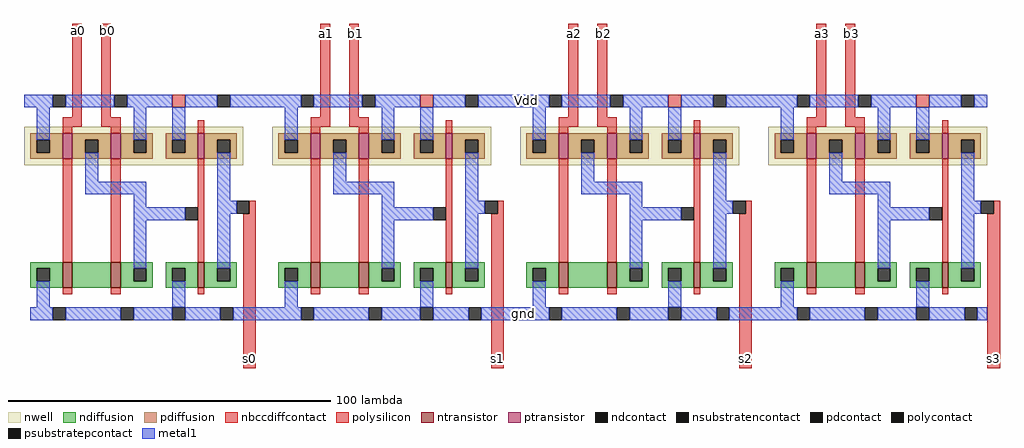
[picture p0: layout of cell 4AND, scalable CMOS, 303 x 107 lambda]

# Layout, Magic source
magic
tech scmos
<< nwell >>
rect -57 14 11 26
rect 20 14 88 26
rect 97 14 165 26
rect 174 14 242 26
<< polysilicon >>
rect -42 29 -39 58
rect -45 26 -39 29
rect -33 29 -30 58
rect 35 29 38 58
rect -33 26 -27 29
rect -45 24 -42 26
rect -30 24 -27 26
rect -3 24 -1 28
rect 32 26 38 29
rect 44 29 47 58
rect 112 29 115 58
rect 44 26 50 29
rect 32 24 35 26
rect 47 24 50 26
rect 74 24 76 28
rect 109 26 115 29
rect 121 29 124 58
rect 189 29 192 58
rect 121 26 127 29
rect 109 24 112 26
rect 124 24 127 26
rect 151 24 153 28
rect 186 26 192 29
rect 198 29 201 58
rect 198 26 204 29
rect 186 24 189 26
rect 201 24 204 26
rect 228 24 230 28
rect -45 -16 -42 16
rect -30 -16 -27 16
rect -3 -16 -1 16
rect 13 -1 15 3
rect -45 -26 -42 -24
rect -30 -26 -27 -24
rect -3 -26 -1 -24
rect 11 -49 15 -1
rect 32 -16 35 16
rect 47 -16 50 16
rect 74 -16 76 16
rect 90 -1 92 3
rect 32 -26 35 -24
rect 47 -26 50 -24
rect 74 -26 76 -24
rect 88 -49 92 -1
rect 109 -16 112 16
rect 124 -16 127 16
rect 151 -16 153 16
rect 167 -1 169 3
rect 109 -26 112 -24
rect 124 -26 127 -24
rect 151 -26 153 -24
rect 165 -49 169 -1
rect 186 -16 189 16
rect 201 -16 204 16
rect 228 -16 230 16
rect 244 -1 246 3
rect 186 -26 189 -24
rect 201 -26 204 -24
rect 228 -26 230 -24
rect 242 -49 246 -1
<< ndiffusion >>
rect -55 -18 -45 -16
rect -55 -22 -53 -18
rect -49 -22 -45 -18
rect -55 -24 -45 -22
rect -42 -24 -30 -16
rect -27 -18 -17 -16
rect -27 -22 -23 -18
rect -19 -22 -17 -18
rect -27 -24 -17 -22
rect -13 -18 -3 -16
rect -13 -22 -11 -18
rect -7 -22 -3 -18
rect -13 -24 -3 -22
rect -1 -18 9 -16
rect -1 -22 3 -18
rect 7 -22 9 -18
rect -1 -24 9 -22
rect 22 -18 32 -16
rect 22 -22 24 -18
rect 28 -22 32 -18
rect 22 -24 32 -22
rect 35 -24 47 -16
rect 50 -18 60 -16
rect 50 -22 54 -18
rect 58 -22 60 -18
rect 50 -24 60 -22
rect 64 -18 74 -16
rect 64 -22 66 -18
rect 70 -22 74 -18
rect 64 -24 74 -22
rect 76 -18 86 -16
rect 76 -22 80 -18
rect 84 -22 86 -18
rect 76 -24 86 -22
rect 99 -18 109 -16
rect 99 -22 101 -18
rect 105 -22 109 -18
rect 99 -24 109 -22
rect 112 -24 124 -16
rect 127 -18 137 -16
rect 127 -22 131 -18
rect 135 -22 137 -18
rect 127 -24 137 -22
rect 141 -18 151 -16
rect 141 -22 143 -18
rect 147 -22 151 -18
rect 141 -24 151 -22
rect 153 -18 163 -16
rect 153 -22 157 -18
rect 161 -22 163 -18
rect 153 -24 163 -22
rect 176 -18 186 -16
rect 176 -22 178 -18
rect 182 -22 186 -18
rect 176 -24 186 -22
rect 189 -24 201 -16
rect 204 -18 214 -16
rect 204 -22 208 -18
rect 212 -22 214 -18
rect 204 -24 214 -22
rect 218 -18 228 -16
rect 218 -22 220 -18
rect 224 -22 228 -18
rect 218 -24 228 -22
rect 230 -18 240 -16
rect 230 -22 234 -18
rect 238 -22 240 -18
rect 230 -24 240 -22
<< pdiffusion >>
rect -55 22 -45 24
rect -55 18 -53 22
rect -49 18 -45 22
rect -55 16 -45 18
rect -42 22 -30 24
rect -42 18 -38 22
rect -34 18 -30 22
rect -42 16 -30 18
rect -27 22 -17 24
rect -27 18 -23 22
rect -19 18 -17 22
rect -27 16 -17 18
rect -13 22 -3 24
rect -13 18 -11 22
rect -7 18 -3 22
rect -13 16 -3 18
rect -1 22 9 24
rect -1 18 3 22
rect 7 18 9 22
rect -1 16 9 18
rect 22 22 32 24
rect 22 18 24 22
rect 28 18 32 22
rect 22 16 32 18
rect 35 22 47 24
rect 35 18 39 22
rect 43 18 47 22
rect 35 16 47 18
rect 50 22 60 24
rect 50 18 54 22
rect 58 18 60 22
rect 50 16 60 18
rect 64 22 74 24
rect 64 18 66 22
rect 70 18 74 22
rect 64 16 74 18
rect 76 22 86 24
rect 76 18 80 22
rect 84 18 86 22
rect 76 16 86 18
rect 99 22 109 24
rect 99 18 101 22
rect 105 18 109 22
rect 99 16 109 18
rect 112 22 124 24
rect 112 18 116 22
rect 120 18 124 22
rect 112 16 124 18
rect 127 22 137 24
rect 127 18 131 22
rect 135 18 137 22
rect 127 16 137 18
rect 141 22 151 24
rect 141 18 143 22
rect 147 18 151 22
rect 141 16 151 18
rect 153 22 163 24
rect 153 18 157 22
rect 161 18 163 22
rect 153 16 163 18
rect 176 22 186 24
rect 176 18 178 22
rect 182 18 186 22
rect 176 16 186 18
rect 189 22 201 24
rect 189 18 193 22
rect 197 18 201 22
rect 189 16 201 18
rect 204 22 214 24
rect 204 18 208 22
rect 212 18 214 22
rect 204 16 214 18
rect 218 22 228 24
rect 218 18 220 22
rect 224 18 228 22
rect 218 16 228 18
rect 230 22 240 24
rect 230 18 234 22
rect 238 18 240 22
rect 230 16 240 18
<< metal1 >>
rect -57 32 -48 36
rect -44 32 -29 36
rect -25 32 -11 36
rect -7 32 3 36
rect 7 32 29 36
rect 33 32 48 36
rect 52 32 66 36
rect 70 32 80 36
rect 84 32 106 36
rect 110 32 125 36
rect 129 32 143 36
rect 147 32 157 36
rect 161 32 183 36
rect 187 32 202 36
rect 206 32 220 36
rect 224 32 234 36
rect 238 32 242 36
rect -53 22 -49 32
rect -23 22 -19 32
rect -11 22 -7 32
rect 24 22 28 32
rect 54 22 58 32
rect 66 22 70 32
rect 101 22 105 32
rect 131 22 135 32
rect 143 22 147 32
rect 178 22 182 32
rect 208 22 212 32
rect 220 22 224 32
rect -38 9 -34 18
rect -38 5 -19 9
rect -23 1 -19 5
rect 3 3 7 18
rect 39 9 43 18
rect 39 5 58 9
rect -23 -3 -7 1
rect 3 -1 9 3
rect 54 1 58 5
rect 80 3 84 18
rect 116 9 120 18
rect 116 5 135 9
rect -23 -18 -19 -3
rect 3 -18 7 -1
rect 54 -3 70 1
rect 80 -1 86 3
rect 131 1 135 5
rect 157 3 161 18
rect 193 9 197 18
rect 193 5 212 9
rect 54 -18 58 -3
rect 80 -18 84 -1
rect 131 -3 147 1
rect 157 -1 163 3
rect 208 1 212 5
rect 234 3 238 18
rect 131 -18 135 -3
rect 157 -18 161 -1
rect 208 -3 224 1
rect 234 -1 240 3
rect 208 -18 212 -3
rect 234 -18 238 -1
rect -53 -30 -49 -22
rect -11 -30 -7 -22
rect 24 -30 28 -22
rect 66 -30 70 -22
rect 101 -30 105 -22
rect 143 -30 147 -22
rect 178 -30 182 -22
rect 220 -30 224 -22
rect -55 -34 -48 -30
rect -44 -34 -27 -30
rect -23 -34 -11 -30
rect -7 -34 4 -30
rect 8 -34 29 -30
rect 33 -34 50 -30
rect 54 -34 66 -30
rect 70 -34 81 -30
rect 85 -34 106 -30
rect 110 -34 127 -30
rect 131 -34 143 -30
rect 147 -34 158 -30
rect 162 -34 183 -30
rect 187 -34 204 -30
rect 208 -34 220 -30
rect 224 -34 235 -30
rect 239 -34 242 -30
<< ntransistor >>
rect -45 -24 -42 -16
rect -30 -24 -27 -16
rect -3 -24 -1 -16
rect 32 -24 35 -16
rect 47 -24 50 -16
rect 74 -24 76 -16
rect 109 -24 112 -16
rect 124 -24 127 -16
rect 151 -24 153 -16
rect 186 -24 189 -16
rect 201 -24 204 -16
rect 228 -24 230 -16
<< ptransistor >>
rect -45 16 -42 24
rect -30 16 -27 24
rect -3 16 -1 24
rect 32 16 35 24
rect 47 16 50 24
rect 74 16 76 24
rect 109 16 112 24
rect 124 16 127 24
rect 151 16 153 24
rect 186 16 189 24
rect 201 16 204 24
rect 228 16 230 24
<< polycontact >>
rect -7 -3 -3 1
rect 9 -1 13 3
rect 70 -3 74 1
rect 86 -1 90 3
rect 147 -3 151 1
rect 163 -1 167 3
rect 224 -3 228 1
rect 240 -1 244 3
<< ndcontact >>
rect -53 -22 -49 -18
rect -23 -22 -19 -18
rect -11 -22 -7 -18
rect 3 -22 7 -18
rect 24 -22 28 -18
rect 54 -22 58 -18
rect 66 -22 70 -18
rect 80 -22 84 -18
rect 101 -22 105 -18
rect 131 -22 135 -18
rect 143 -22 147 -18
rect 157 -22 161 -18
rect 178 -22 182 -18
rect 208 -22 212 -18
rect 220 -22 224 -18
rect 234 -22 238 -18
<< pdcontact >>
rect -53 18 -49 22
rect -38 18 -34 22
rect -23 18 -19 22
rect -11 18 -7 22
rect 3 18 7 22
rect 24 18 28 22
rect 39 18 43 22
rect 54 18 58 22
rect 66 18 70 22
rect 80 18 84 22
rect 101 18 105 22
rect 116 18 120 22
rect 131 18 135 22
rect 143 18 147 22
rect 157 18 161 22
rect 178 18 182 22
rect 193 18 197 22
rect 208 18 212 22
rect 220 18 224 22
rect 234 18 238 22
<< nbccdiffcontact >>
rect -11 32 -7 36
rect 66 32 70 36
rect 143 32 147 36
rect 220 32 224 36
<< psubstratepcontact >>
rect -48 -34 -44 -30
rect -27 -34 -23 -30
rect -11 -34 -7 -30
rect 4 -34 8 -30
rect 29 -34 33 -30
rect 50 -34 54 -30
rect 66 -34 70 -30
rect 81 -34 85 -30
rect 106 -34 110 -30
rect 127 -34 131 -30
rect 143 -34 147 -30
rect 158 -34 162 -30
rect 183 -34 187 -30
rect 204 -34 208 -30
rect 220 -34 224 -30
rect 235 -34 239 -30
<< nsubstratencontact >>
rect -48 32 -44 36
rect -29 32 -25 36
rect 3 32 7 36
rect 29 32 33 36
rect 48 32 52 36
rect 80 32 84 36
rect 106 32 110 36
rect 125 32 129 36
rect 157 32 161 36
rect 183 32 187 36
rect 202 32 206 36
rect 234 32 238 36
<< labels >>
rlabel polysilicon -40 56 -40 56 5 a0
rlabel polysilicon -31 56 -31 56 5 b0
rlabel polysilicon 37 55 37 55 5 a1
rlabel polysilicon 46 55 46 55 5 b1
rlabel polysilicon 114 55 114 55 5 a2
rlabel polysilicon 123 55 123 55 5 b2
rlabel polysilicon 191 55 191 55 5 a3
rlabel polysilicon 200 55 200 55 5 b3
rlabel polysilicon 13 -46 13 -46 1 s0
rlabel polysilicon 90 -46 90 -46 1 s1
rlabel polysilicon 167 -46 167 -46 1 s2
rlabel polysilicon 244 -46 244 -46 8 s3
rlabel metal1 98 -32 98 -32 1 gnd
rlabel metal1 99 34 99 34 1 Vdd
<< end >>
